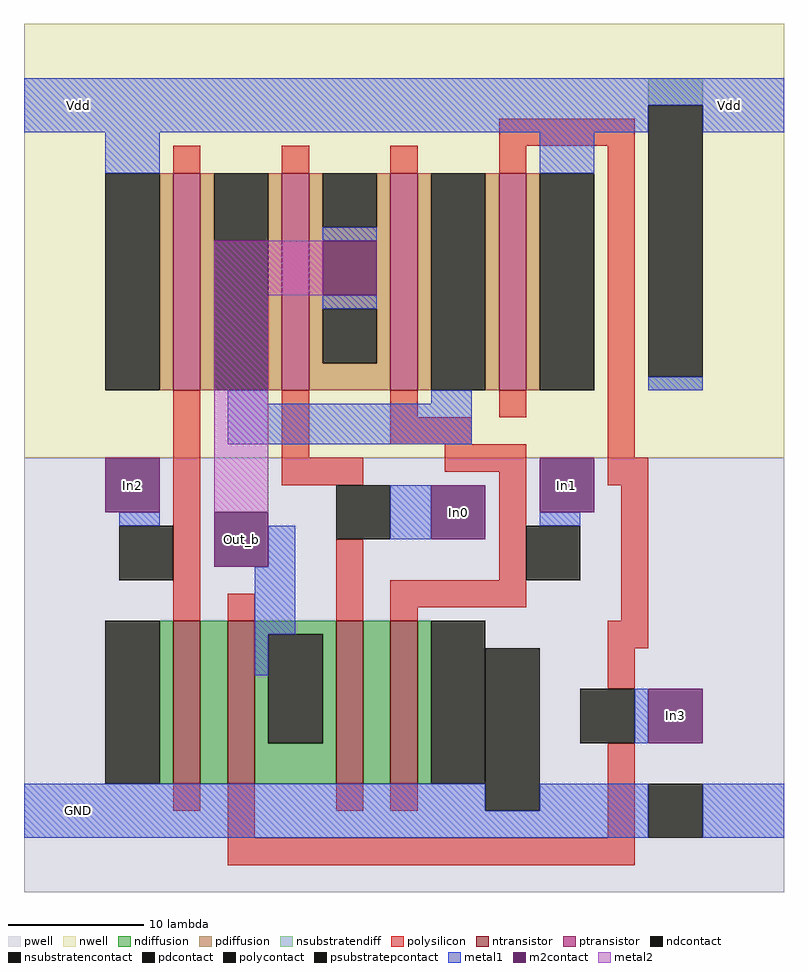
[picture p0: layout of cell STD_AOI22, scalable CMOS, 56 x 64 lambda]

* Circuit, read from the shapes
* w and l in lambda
.subckt STD_AOI22 GND In0 In1 In2 In3 Out_b Vdd
M1 n1 In2 GND GND nfet w=12 l=2
M2 Out_b In3 n1 GND nfet w=12 l=2
M3 n2 In0 Out_b GND nfet w=12 l=2
M4 GND In1 n2 GND nfet w=12 l=2
M5 n3 In2 Vdd Vdd pfet w=16 l=2
M6 Out_b In0 n3 Vdd pfet w=16 l=2
M7 n3 In1 Out_b Vdd pfet w=16 l=2
M8 Vdd In3 n3 Vdd pfet w=16 l=2
.ends

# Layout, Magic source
magic
tech scmos
<< pwell >>
rect 0 0 56 32
<< nwell >>
rect 0 32 56 64
<< polysilicon >>
rect 35 55 45 57
rect 11 53 13 55
rect 19 53 21 55
rect 27 53 29 55
rect 35 53 37 55
rect 11 20 13 37
rect 19 32 21 37
rect 27 35 29 37
rect 35 35 37 37
rect 27 33 33 35
rect 19 30 25 32
rect 31 31 37 33
rect 15 20 17 22
rect 23 20 25 26
rect 35 23 37 31
rect 43 32 45 55
rect 43 30 46 32
rect 27 21 37 23
rect 27 20 29 21
rect 44 20 46 30
rect 43 18 46 20
rect 11 6 13 8
rect 15 4 17 8
rect 23 6 25 8
rect 27 6 29 8
rect 43 15 45 18
rect 43 4 45 11
rect 15 2 45 4
<< ndiffusion >>
rect 10 8 11 20
rect 13 8 15 20
rect 17 19 23 20
rect 17 11 18 19
rect 22 11 23 19
rect 17 8 23 11
rect 25 8 27 20
rect 29 8 30 20
<< pdiffusion >>
rect 10 37 11 53
rect 13 37 14 53
rect 18 37 19 53
rect 21 49 22 53
rect 26 49 27 53
rect 21 43 27 49
rect 21 39 22 43
rect 26 39 27 43
rect 21 37 27 39
rect 29 37 30 53
rect 34 37 35 53
rect 37 37 38 53
<< metal1 >>
rect 0 58 56 60
rect 0 56 46 58
rect 6 53 10 56
rect 38 53 42 56
rect 22 48 26 49
rect 22 43 26 44
rect 15 36 18 37
rect 50 56 56 58
rect 46 37 50 38
rect 30 36 33 37
rect 15 33 33 36
rect 7 27 10 28
rect 18 24 20 27
rect 27 26 30 30
rect 38 27 41 28
rect 17 19 20 24
rect 17 16 18 19
rect 0 6 34 8
rect 45 11 46 15
rect 38 6 46 8
rect 0 4 46 6
rect 50 4 56 8
<< metal2 >>
rect 14 44 22 48
rect 14 28 18 44
<< ntransistor >>
rect 11 8 13 20
rect 15 8 17 20
rect 23 8 25 20
rect 27 8 29 20
<< ptransistor >>
rect 11 37 13 53
rect 19 37 21 53
rect 27 37 29 53
rect 35 37 37 53
<< polycontact >>
rect 7 23 11 27
rect 23 26 27 30
rect 37 23 41 27
rect 41 11 45 15
<< ndcontact >>
rect 6 8 10 20
rect 18 11 22 19
rect 30 8 34 20
<< pdcontact >>
rect 6 37 10 53
rect 14 37 18 53
rect 22 49 26 53
rect 22 39 26 43
rect 30 37 34 53
rect 38 37 42 53
<< m2contact >>
rect 22 44 26 48
rect 6 28 10 32
rect 14 24 18 28
rect 30 26 34 30
rect 38 28 42 32
rect 46 11 50 15
<< psubstratepcontact >>
rect 34 6 38 18
rect 46 4 50 8
<< nsubstratencontact >>
rect 46 38 50 58
<< nsubstratendiff >>
rect 46 58 50 60
rect 46 37 50 38
<< labels >>
rlabel m2contact 8 30 8 30 6 In2
rlabel m2contact 32 28 32 28 6 In0
rlabel m2contact 48 13 48 13 6 In3
rlabel m2contact 40 30 40 30 6 In1
rlabel metal1 4 6 4 6 6 GND
rlabel metal1 52 58 52 58 6 Vdd
rlabel metal1 4 58 4 58 6 Vdd
rlabel m2contact 16 26 16 26 6 Out_b
<< end >>
